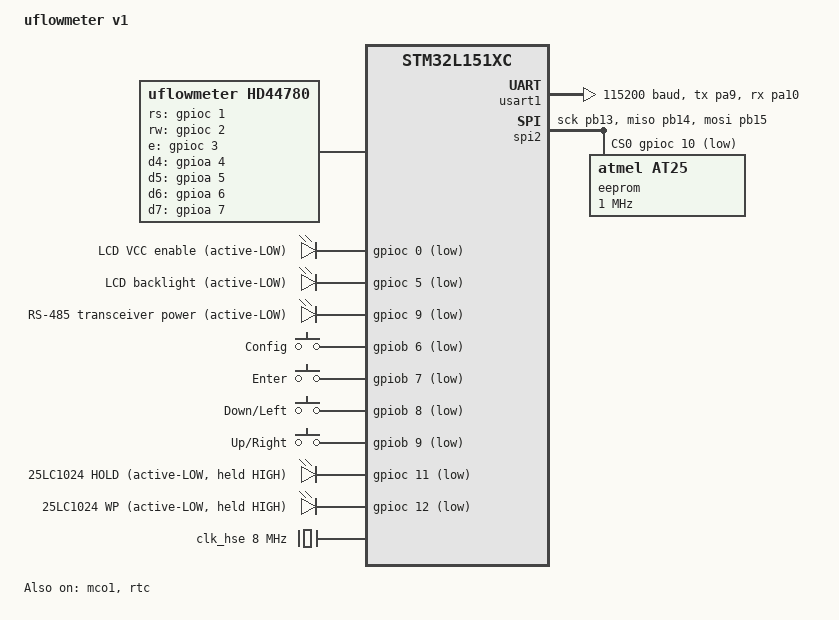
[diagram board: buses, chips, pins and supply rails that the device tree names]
/*
 * SPDX-License-Identifier: Apache-2.0
 *
 * uflowmeter v1 — custom ultrasonic-flow-meter board built around an
 * STM32L151RC (Cortex-M3, 256 KB flash, 32 KB SRAM).
 *
 * Pin map sourced from the embassy port at rework/embassy:src/main.rs
 * lines 117–301. Every assignment here is mirrored in
 * src/pinout.hpp — keep them in sync.
 */

/dts-v1/;
#include <st/l1/stm32l151Xc.dtsi>
#include <st/l1/stm32l151r(8-b-c)tx-pinctrl.dtsi>
#include <zephyr/dt-bindings/input/input-event-codes.h>

/ {
	model = "uflowmeter v1";
	compatible = "uflowmeter,uflowmeter-v1";

	chosen {
		zephyr,console      = &usart1;
		zephyr,shell-uart   = &usart1;
		zephyr,sram         = &sram0;
		zephyr,flash        = &flash0;
		uflowmeter,lcd      = &hd44780;
		uflowmeter,keypad   = &keypad;
		uflowmeter,eeprom   = &eeprom;
	};

	aliases {
		lcd-power = &lcd_power;
		lcd-backlight = &backlight;
	};

	/*
	 * The HD44780 LCD is wired up as a child node with a custom binding
	 * (dts/bindings/display/uflowmeter,hd44780.yaml). Power + backlight
	 * are surfaced separately as gpio-leds so app code can toggle them
	 * during idle-mode power-gating without owning the LCD driver.
	 */
	hd44780: hd44780 {
		compatible = "uflowmeter,hd44780";
		rs-gpios = <&gpioc 1 GPIO_ACTIVE_HIGH>;
		rw-gpios = <&gpioc 2 GPIO_ACTIVE_HIGH>;
		e-gpios  = <&gpioc 3 GPIO_ACTIVE_HIGH>;
		d4-gpios = <&gpioa 4 GPIO_ACTIVE_HIGH>;
		d5-gpios = <&gpioa 5 GPIO_ACTIVE_HIGH>;
		d6-gpios = <&gpioa 6 GPIO_ACTIVE_HIGH>;
		d7-gpios = <&gpioa 7 GPIO_ACTIVE_HIGH>;
		rows = <2>;
		cols = <16>;
		status = "okay";
	};

	/* Power rails as gpio-leds so they're trivial to toggle from C++. */
	rails {
		compatible = "gpio-leds";
		lcd_power: lcd_power {
			gpios = <&gpioc 0 GPIO_ACTIVE_LOW>;
			label = "LCD VCC enable (active-LOW)";
		};
		backlight: backlight {
			gpios = <&gpioc 5 GPIO_ACTIVE_LOW>;
			label = "LCD backlight (active-LOW)";
		};
		/*
		 * RS-485 transceiver power for USART1. Held LOW = transceiver
		 * powered. Declared so we can flip it via a single GPIO API
		 * call later when Modbus comes online.
		 */
		rs485_power: rs485_power {
			gpios = <&gpioc 9 GPIO_ACTIVE_LOW>;
			label = "RS-485 transceiver power (active-LOW)";
		};
	};

	keypad: keypad {
		compatible = "gpio-keys";
		btn_config: button_config {
			label = "Config";
			gpios = <&gpiob 6 (GPIO_ACTIVE_LOW | GPIO_PULL_UP)>;
			zephyr,code = <INPUT_KEY_MENU>;
		};
		btn_enter: button_enter {
			label = "Enter";
			gpios = <&gpiob 7 (GPIO_ACTIVE_LOW | GPIO_PULL_UP)>;
			zephyr,code = <INPUT_KEY_ENTER>;
		};
		btn_down: button_down {
			/* UI convention maps this to LEFT (see CLAUDE.md). */
			label = "Down/Left";
			gpios = <&gpiob 8 (GPIO_ACTIVE_LOW | GPIO_PULL_UP)>;
			zephyr,code = <INPUT_KEY_LEFT>;
		};
		btn_up: button_up {
			label = "Up/Right";
			gpios = <&gpiob 9 (GPIO_ACTIVE_LOW | GPIO_PULL_UP)>;
			zephyr,code = <INPUT_KEY_RIGHT>;
		};
	};

	/*
	 * EEPROM HOLD (PC11) and WP (PC12) are active-LOW; we hold both
	 * lines HIGH at boot via gpio-leds (default "off" state on
	 * active-LOW pins drives the line electrically HIGH = write-
	 * enabled / data-clocked). These need to be live before any
	 * SPI transaction so the chip doesn't latch wrong state.
	 */
	eeprom_pins {
		compatible = "gpio-leds";
		eeprom_hold: eeprom_hold {
			gpios = <&gpioc 11 GPIO_ACTIVE_LOW>;
			label = "25LC1024 HOLD (active-LOW, held HIGH)";
		};
		eeprom_wp: eeprom_wp {
			gpios = <&gpioc 12 GPIO_ACTIVE_LOW>;
			label = "25LC1024 WP (active-LOW, held HIGH)";
		};
	};

	/*
	 * Placeholder declarations for pins reserved by future drivers.
	 * Disabled — exist only to make the pin commitments visible in
	 * the device tree until the corresponding driver lands.
	 */
	reserved-pins {
		compatible = "gpio-leds";
		status = "disabled";
		tdc1000_en:  tdc1000_en  { gpios = <&gpiob 10 GPIO_ACTIVE_HIGH>; label = "TDC1000 EN";  };
		tdc1000_rst: tdc1000_rst { gpios = <&gpioc 6  GPIO_ACTIVE_LOW>;  label = "TDC1000 RST"; };
		tdc7200_en:  tdc7200_en  { gpios = <&gpiob 1  GPIO_ACTIVE_HIGH>; label = "TDC7200 EN";  };
	};
};

/*
 * Clock tree: 8 MHz HSE crystal → MCO out on PA8 at /1 (drives TDC chips).
 * SYSCLK on HSE×2/1 via PLL = 16 MHz (Zephyr issue #22078: do NOT exceed
 * 16 MHz on L1 with shell + SysTick).
 */
&clk_hse {
	status = "okay";
	clock-frequency = <DT_FREQ_M(8)>;
};

&pll {
	div = <3>;            /* HSE 8 MHz / 3 */
	mul = <6>;            /* × 6 = 16 MHz VCO out */
	clocks = <&clk_hse>;
	status = "okay";
};

&rcc {
	clocks = <&pll>;
	clock-frequency = <DT_FREQ_M(16)>;
	ahb-prescaler = <1>;
	apb1-prescaler = <1>;
	apb2-prescaler = <1>;
};

/* MCO output on PA8 — HSE / 1 = 8 MHz reference for TDC1000 / TDC7200. */
&mco1 {
	clocks = <&rcc STM32_SRC_HSE MCO1_SEL(0)>;
	prescaler = <1>;
	pinctrl-0 = <&rcc_mco_pa8>;
	pinctrl-names = "default";
	status = "okay";
};

/* USART1: TX=PA9, RX=PA10. 115200 baud. Console for now; Modbus later. */
&usart1 {
	pinctrl-0 = <&usart1_tx_pa9 &usart1_rx_pa10>;
	pinctrl-names = "default";
	current-speed = <115200>;
	status = "okay";
};

/*
 * SPI2 shared bus: SCK=PB13, MISO=PB14, MOSI=PB15.
 * Three chip-selects committed in the cs-gpios array — only EEPROM has a
 * child node so far; TDC1000 (reg=1) and TDC7200 (reg=2) land in the
 * follow-up TDC commit.
 */
&spi2 {
	pinctrl-0 = <&spi2_sck_pb13 &spi2_miso_pb14 &spi2_mosi_pb15>;
	pinctrl-names = "default";
	cs-gpios = <&gpioc 10 GPIO_ACTIVE_LOW>,  /* 25LC1024 EEPROM */
		   <&gpiob 11 GPIO_ACTIVE_LOW>,  /* TDC1000 (reserved) */
		   <&gpiob 12 GPIO_ACTIVE_LOW>;  /* TDC7200 (reserved) */
	status = "okay";

	eeprom: eeprom@0 {
		/*
		 * 25LC1024 is command-compatible with the Atmel AT25 family
		 * (READ 0x03 / WRITE 0x02 / WREN 0x06 / RDSR 0x05). Zephyr's
		 * atmel,at25 driver handles page-split writes and WIP polling
		 * — no custom driver needed.
		 */
		compatible = "atmel,at25";
		reg = <0>;
		spi-max-frequency = <DT_FREQ_M(1)>;
		size = <DT_SIZE_K(1024)>;        /* 128 KB = 1024 Kbit */
		pagesize = <256>;
		address-width = <24>;
		timeout = <5>;                   /* WIP poll timeout, ms */
		status = "okay";
	};
};

/* RTC: STM32L1 internal, LSI/LSE clocked. Backup registers usable. */
&rtc {
	status = "okay";
};

/*
 * Override flash/SRAM sizes for the C variant — the upstream dtsi targets
 * the largest die in the family.
 */
&flash0 {
	reg = <0x08000000 DT_SIZE_K(256)>;
};

&sram0 {
	reg = <0x20000000 DT_SIZE_K(32)>;
};
